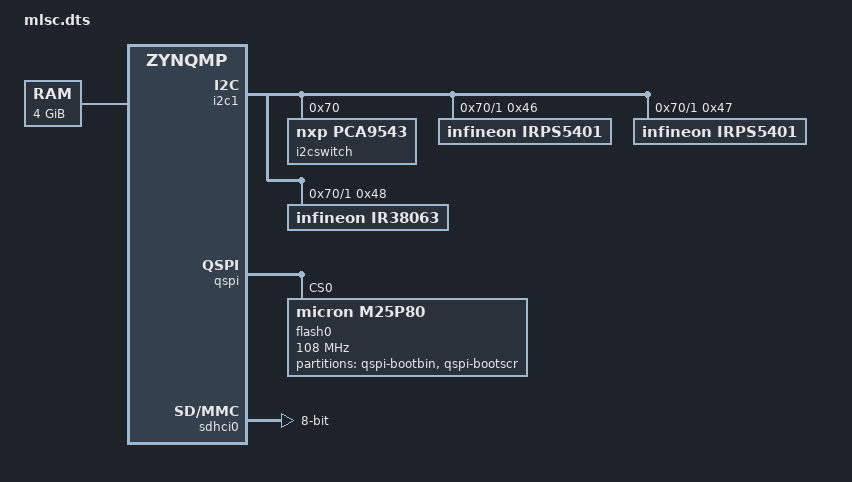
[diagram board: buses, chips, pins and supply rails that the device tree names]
/dts-v1/;
#include "zynqmp.dtsi"
#include "zynqmp-clk-ccf.dtsi"
#include "pl.dtsi"
#include "pcw.dtsi"
#include <dt-bindings/phy/phy.h>
#include <dt-bindings/net/ti-dp83867.h>
#include <dt-bindings/input/input.h>
#include <dt-bindings/gpio/gpio.h>
#include <dt-bindings/pinctrl/pinctrl-zynqmp.h>
#include <dt-bindings/interrupt-controller/irq.h>

/* From include/dt-bindings/clk/versaclock.h */
#define VC5_LVPECL   0
#define VC5_CMOS  1
#define VC5_HCSL33   2
#define VC5_LVDS  3
#define VC5_CMOS2 4
#define VC5_CMOSD 5
#define VC5_HCSL25   6

#define PLATFORM_TYPE_MLSC_2SOM 0

/ {
	chosen {
		bootargs = "earlycon console=ttyPS0,115200 clk_ignore_unused root=/dev/mmcblk1p2 rw rootwait";
		stdout-path = "serial0:115200n8";
	};
	aliases {
		serial0 = &uart0;
		serial1 = &uart1;
	};
	memory {
		device_type = "memory";
		reg = <0x0 0x0 0x0 0x7ff00000>, <0x00000008 0x00000000 0x0 0x80000000>;
	};
};

&amba_pl {
	mlsc_system: mlsc_system@800D0000 {
	   compatible = "mlsc_system-1.0";
       reg = <0x0 0x800D0000 0x0 0x10000 0x0 0xa0100000 0x0 0x10000>;
       platform_type = <PLATFORM_TYPE_MLSC_2SOM>;
    };
};

&gpio {
	status = "okay";
};

&i2c1 {
   i2cswitch@70 { /* U7 on UZ3EG SOM, U8 on UZ7EV SOM */
      compatible = "nxp,pca9543";
      #address-cells = <1>;
      #size-cells = <0>;
      reg = <0x70>;
      i2c@0 { /* i2c mw 70 0 1 */
         #address-cells = <1>;
         #size-cells = <0>;
         reg = <0>;
      };

      i2c@1 {
         #address-cells = <0x1>;
         #size-cells = <0x0>;
         reg = <0x1>;

         irps5401@46 { /* IRPS5401 - U24 on UZ7EV SOM*/
            compatible = "infineon,irps5401";
            reg = <0x46>;
         };

         irps5401@47 { /* IRPS5401 - U25 on UZ7EV SOM*/
            compatible = "infineon,irps5401";
            reg = <0x47>;
         };

         ir38063@48 { /* IR38063 - U26 on UZ7EV SOM*/
            compatible = "infineon,ir38063";
            reg = <0x48>;
         };
     };
  };
};

&qspi {
   #address-cells = <1>;
   #size-cells = <0>;
   status = "okay";
   is-dual = <1>; /* Set for dual-parallel QSPI config */
   num-cs = <2>;
   xlnx,fb-clk = <0x1>;
   flash0: flash@0 {
      /* The Flash described below doesn't match our board ("micron,n25qu256a"), but is needed */
      /* so the Flash MTD partitions are correctly identified in /proc/mtd */
      compatible = "micron,m25p80","jedec,spi-nor"; /* 32MB */
      #address-cells = <1>;
      #size-cells = <1>;
      reg = <0x0>;
      spi-tx-bus-width = <1>;
      spi-rx-bus-width = <4>; /* FIXME also DUAL configuration possible */
      spi-max-frequency = <108000000>; /* Set to 108000000 Based on DC1 spec */
      /* MTD Partitioning:
       *   Boot.bin needs at least 20MB
       *   boot.scr must go at 0x3E80000
       */
      partition@qspi-bootbin {
	      label = "qspi-bootbin";
	      reg = <0x0 0x2000000>;
      };
      partition@qspi-bootscr {
	      label = "qspi-bootscr";
	      reg = <0x3E80000 0x80000>;
      };
   };
};

/* SD0 eMMC, 8-bit wide data bus */
&sdhci0 {
   status = "okay";
   bus-width = <8>;
   max-frequency = <50000000>;
};

